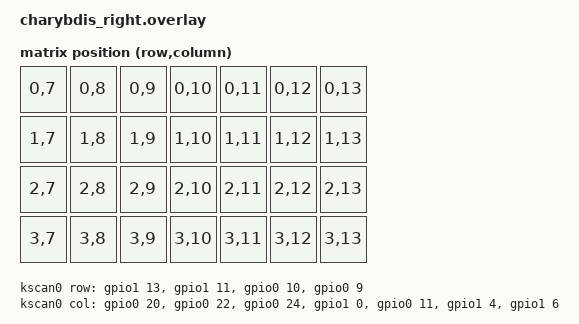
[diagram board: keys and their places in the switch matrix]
#include <dt-bindings/zmk/matrix_transform.h>

/ {
	chosen {
		zmk,kscan = &kscan0;
		zmk,matrix_transform = &default_transform;
		zmk,keyboard-role = "central";
	};

	default_transform: keymap_transform_0 {
		compatible = "zmk,matrix-transform";
		rows = <4>;
		columns = <7>;
		map = <
					  RC(0,7) RC(0,8) RC(0,9) RC(0,10) RC(0,11) RC(0,12) RC(0,13)
					  RC(1,7) RC(1,8) RC(1,9) RC(1,10) RC(1,11) RC(1,12) RC(1,13)
					  RC(2,7) RC(2,8) RC(2,9) RC(2,10) RC(2,11) RC(2,12) RC(2,13)
					  RC(3,7) RC(3,8) RC(3,9) RC(3,10) RC(3,11) RC(3,12) RC(3,13)
			  >;
	};

	kscan0: kscan {
		compatible = "zmk,kscan-gpio-matrix";
		diode-direction = "col2row";

		row-gpios =
				<&gpio1 13 GPIO_ACTIVE_LOW>,
				<&gpio1 11 GPIO_ACTIVE_LOW>,
				<&gpio0 10 GPIO_ACTIVE_LOW>,
				<&gpio0 9 GPIO_ACTIVE_LOW>;

		col-gpios = <&gpio0 20 GPIO_ACTIVE_LOW>,
					<&gpio0 22 GPIO_ACTIVE_LOW>,
					<&gpio0 24 GPIO_ACTIVE_LOW>,
					<&gpio1 0 GPIO_ACTIVE_LOW>,
					<&gpio0 11 GPIO_ACTIVE_LOW>,
					<&gpio1 4 GPIO_ACTIVE_LOW>,
					<&gpio1 6 GPIO_ACTIVE_LOW>;
	};
};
